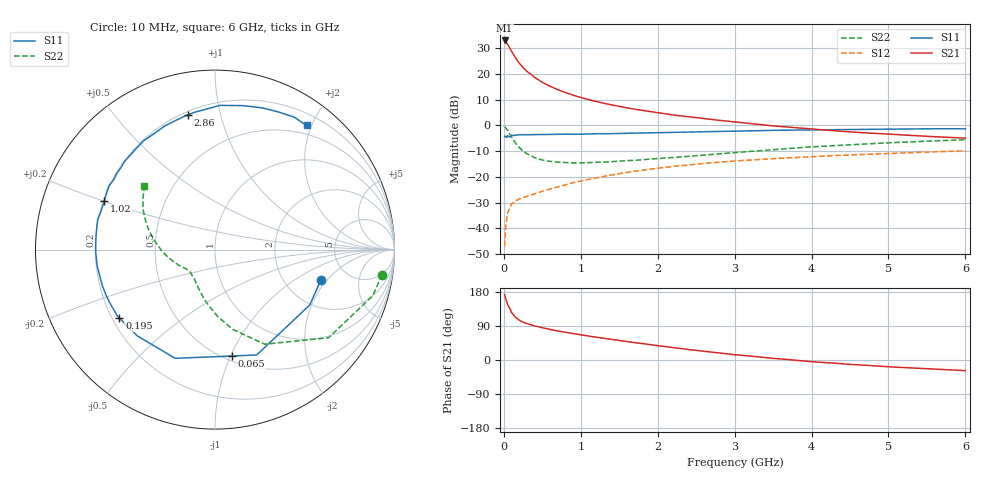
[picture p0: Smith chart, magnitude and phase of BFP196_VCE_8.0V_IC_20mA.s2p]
! Infineon Technologies  Discrete & RF Semiconductors
! BFP196
! VCE = 8.0 V,  IC =  20mA
! Common Emitter S-Parameters:  Jan 2016
# GHz  S  MA  R  50
!  f  S11  S21  S12  S22
! GHz  MAG  ANG  MAG  ANG  MAG  ANG  MAG  ANG
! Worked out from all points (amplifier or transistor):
!   210 points, 10 MHz to 6 GHz, reference 50 ohm
!   highest |S21| = 33.0 dB at 10 MHz (marker M1)
!   |S21| within 3 dB of that: start of sweep to 76.95 MHz
!   unconditionally stable (mu >= 1): 732.1 MHz to 4.323 GHz
!   at 185 MHz: K = 0.45, MSG = 26.9 dB, |S12| = -28.8 dB
!   at 1.52 GHz: K = 1.10, MAG = 11.0 dB, |S12| = -18.7 dB
!   at 6 GHz: K = 0.96, MSG = 2.5 dB, |S12| = -9.9 dB
!   S11 on the Smith chart (normalised r, x): 10 MHz: 3.18, -1.71; 65 MHz: 0.55, -1.01; 195 MHz: 0.23, -0.31; 1.02 GHz: 0.20, +0.20; 2.86 GHz: 0.22, +0.80; 6 GHz: 0.36, +1.92
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0.01  0.6137 -15.9  44.64 172.7  0.0045 83.9  0.9421 -8.5
0.02  0.6115 -30.3  42.9 164.4  0.0091 76.6  0.915 -16.4
0.05  0.6315 -68.4  37.55 145.8  0.0198 62.3  0.8011 -37.8
0.065  0.6005 -80.8  34.12 140.9  0.0226 56.9  0.7271 -43.6
0.1  0.6451 -110.1  27.5 124.9  0.0296 48.5  0.5953 -62.3
0.15  0.6471 -132.1  20.59 112.7  0.034 41.7  0.4558 -77.4
0.195  0.6553 -144.3  16.67 106.0  0.0367 41.1  0.3802 -86.6
0.24  0.6569 -153.4  13.83 101.0  0.0392 40.4  0.3267 -94.1
0.3  0.6591 -162.1  11.2 95.7  0.0419 41.9  0.2817 -102.4
0.4  0.6631 -172.1  8.548 89.8  0.0471 43.9  0.2365 -112.5
0.5  0.6651 -179.3  6.85 85.0  0.0522 46.3  0.2123 -119.9
0.6  0.6664 175.1  5.745 80.5  0.058 48.2  0.1994 -125.6
0.7  0.6703 169.7  4.95 76.4  0.0637 49.6  0.1932 -130.3
0.9  0.6705 161.3  3.848 69.6  0.077 51.0  0.1864 -137.3
1.02  0.6741 156.1  3.414 65.8  0.0843 51.7  0.1871 -140.1
1.4  0.6931 142.1  2.495 54.5  0.1085 50.5  0.1969 -148.0
2.02  0.7246 123.2  1.74 37.4  0.1482 45.2  0.2271 -159.7
2.86  0.7661 101.2  1.226 17.3  0.1958 35.6  0.2847 -175.9
3.1  0.7779 96.2  1.125 12.2  0.2077 32.6  0.3033 179.5
4.1  0.8191 77.5  0.827 -5.7  0.2503 21.1  0.3892 162.7
5.1  0.8469 64.0  0.662 -18.8  0.2884 10.3  0.4652 149.5
6  0.8591 53.6  0.566 -28.1  0.3205 0.3  0.5275 138.2
